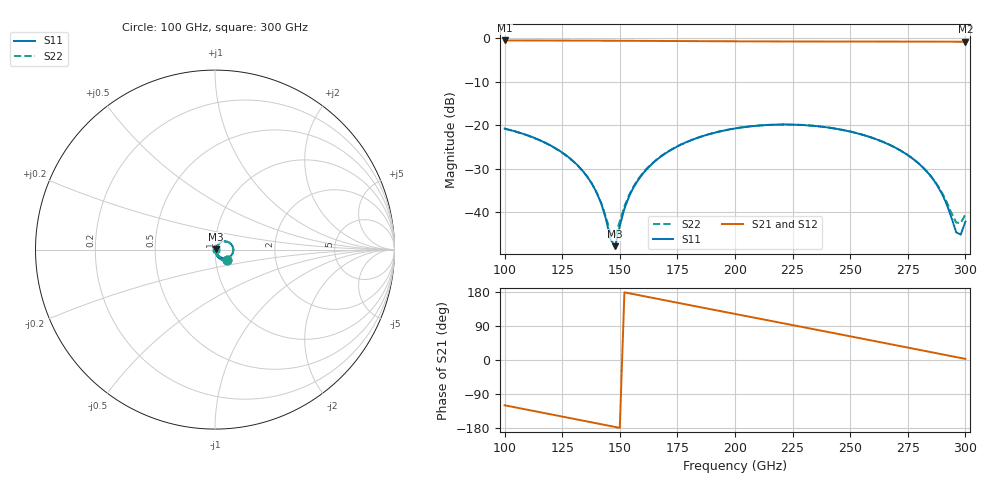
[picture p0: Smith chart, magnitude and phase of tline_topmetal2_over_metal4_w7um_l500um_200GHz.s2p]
#  GHZ S DB R 50
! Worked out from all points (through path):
!   101 points, 100 GHz to 300 GHz, reference 50 ohm
!   highest |S21| = -0.49 dB at 100 GHz (marker M1); lowest = -0.8 dB at 300 GHz (marker M2)
!   group delay of S21, straight-line fit = 3.29 ps
!   lowest |S11| = -47.8 dB at 148 GHz (marker M3), VSWR 1.01, Z = 50.4 + j0.0992 ohm
!   |S11| at or under -10 dB: start of sweep to end of sweep
!   |S22| runs from -45.6 to -19.8 dB; largest |S21 - S12| = 1.6e-13
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100  -20.77 -40.9  -0.49 -119.5  -0.49 -119.5  -20.78 -40.5
120  -24.65 -61.7  -0.51 -143.3  -0.51 -143.3  -24.68 -60.8
134  -30.54 -73.8  -0.53 -160.0  -0.53 -160.0  -30.57 -71.7
140  -35.52 -74.7  -0.54 -167.2  -0.54 -167.2  -35.49 -70.8
144  -41.56 -65.2  -0.54 -171.9  -0.54 -171.9  -41.18 -57.8
146  -46.30 -42.7  -0.55 -174.3  -0.55 -174.3  -44.91 -33.5
148  -47.79 14.0  -0.55 -176.7  -0.55 -176.7  -45.55 11.9
152  -39.20 58.3  -0.56 178.5  -0.56 178.5  -38.66 53.1
156  -34.25 62.7  -0.57 173.7  -0.57 173.7  -34.03 59.3
168  -27.12 55.6  -0.60 159.5  -0.60 159.5  -27.05 53.9
182  -23.22 41.6  -0.64 142.9  -0.64 142.9  -23.18 40.5
200  -20.73 22.2  -0.68 121.6  -0.68 121.6  -20.71 21.5
218  -19.85 2.4  -0.71 100.3  -0.71 100.3  -19.83 1.9
234  -20.12 -15.3  -0.73 81.5  -0.73 81.5  -20.11 -15.5
250  -21.44 -32.8  -0.74 62.5  -0.74 62.5  -21.44 -32.7
268  -24.71 -51.6  -0.74 41.1  -0.74 41.1  -24.71 -50.8
278  -28.02 -60.5  -0.75 29.2  -0.75 29.2  -28.01 -58.8
286  -32.42 -64.5  -0.76 19.6  -0.76 19.6  -32.33 -61.0
292  -38.31 -58.3  -0.77 12.5  -0.77 12.5  -37.80 -50.9
296  -44.59 -24.7  -0.77 7.7  -0.77 7.7  -42.35 -17.2
298  -45.14 15.7  -0.78 5.3  -0.78 5.3  -42.47 12.6
300  -42.13 44.0  -0.78 2.9  -0.78 2.9  -40.46 35.5
